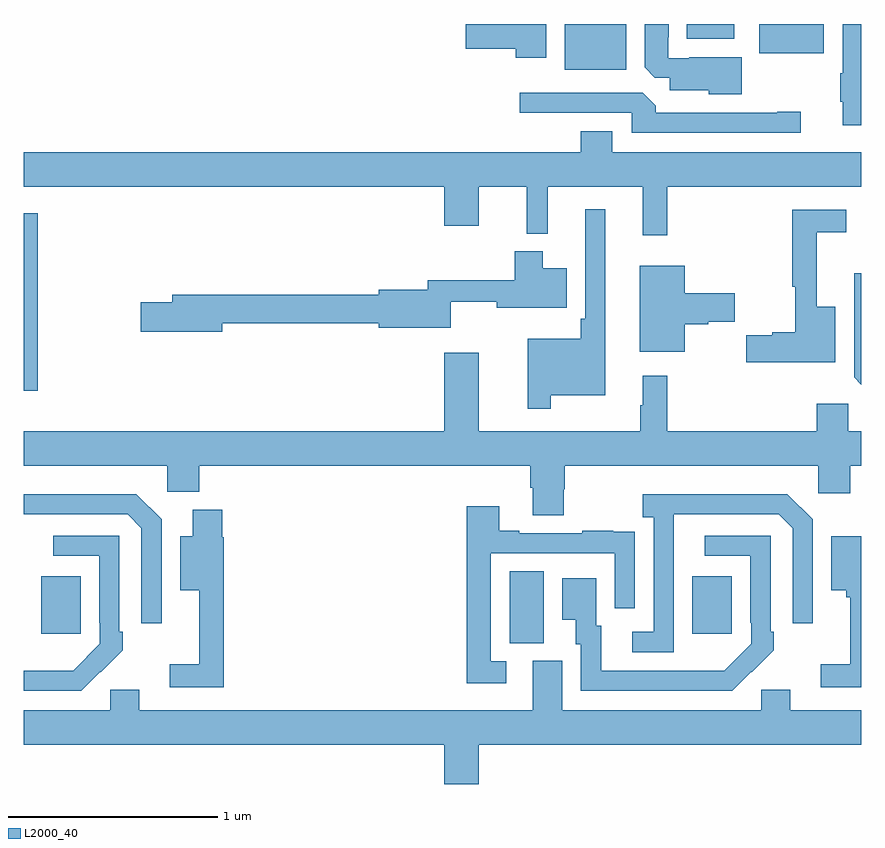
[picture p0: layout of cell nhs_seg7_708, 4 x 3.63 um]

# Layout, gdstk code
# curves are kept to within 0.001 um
import gdstk
lib = gdstk.Library(unit=1e-6, precision=1e-09)
def R(c, l, rs):  # rectangles x0, y0, x1, y1
    for r in rs: c.add(gdstk.rectangle(r[:2], r[2:], *l))
def P(c, l, *ps):  # polygons
    for p in ps: c.add(gdstk.Polygon(p, *l))
L2000_40 = (2000, 40)

nhs_seg7_708 = lib.new_cell('nhs_seg7_708')
R(nhs_seg7_708, L2000_40, [(165.32,1057.045,165.484,1057.388), (163.085,1057.089,163.273,1057.363), (166.193,1057.089,166.381,1057.363), (163,1058.25,163.067,1059.097), (165.584,1059.782,165.877,1060), (166.512,1059.86,166.819,1060), (166.166,1059.929,166.393,1060)])
P(nhs_seg7_708, L2000_40, [(165.496,1060),(165.111,1060),(165.111,1059.881),(165.35,1059.881),(165.35,1059.84),(165.496,1059.84)],
  [(167,1060),(166.911,1060),(166.911,1059.764),(166.899,1059.764),(166.899,1059.628),(166.91,1059.628),(166.91,1059.516),(167,1059.516)],
  [(166.429,1059.841),(166.177,1059.841),(166.177,1059.837),(166.077,1059.837),(166.077,1059.937),(166.081,1059.937),(166.081,1060),(165.965,1060),(165.965,1059.793),(166.014,1059.744),(166.085,1059.744),(166.085,1059.683),(166.272,1059.683),(166.272,1059.665),(166.429,1059.665)],
  [(166.711,1059.581),(166.598,1059.581),(166.598,1059.576),(166.019,1059.576),(166.019,1059.61),(165.957,1059.672),(165.369,1059.672),(165.369,1059.576),(165.903,1059.576),(165.903,1059.48),(166.711,1059.48)],
  [(166.073,1059.224),(167,1059.224),(167,1059.388),(165.811,1059.388),(165.811,1059.487),(165.659,1059.487),(165.659,1059.388),(163,1059.388),(163,1059.224),(165.008,1059.224),(165.008,1059.036),(165.172,1059.036),(165.172,1059.224),(165.403,1059.224),(165.403,1058.999),(165.503,1058.999),(165.503,1059.224),(165.956,1059.224),(165.956,1058.991),(166.073,1058.991)],
  [(165.517,1058.228),(165.778,1058.228),(165.778,1059.115),(165.681,1059.115),(165.681,1058.593),(165.661,1058.593),(165.661,1058.497),(165.408,1058.497),(165.408,1058.163),(165.517,1058.163)],
  [(166.876,1058.65),(166.787,1058.65),(166.787,1059.006),(166.927,1059.006),(166.927,1059.114),(166.669,1059.114),(166.669,1058.746),(166.684,1058.746),(166.684,1058.528),(166.575,1058.528),(166.575,1058.515),(166.45,1058.515),(166.45,1058.386),(166.876,1058.386)],
  [(163.948,1058.572),(164.696,1058.572),(164.696,1058.549),(165.04,1058.549),(165.04,1058.674),(165.26,1058.674),(165.26,1058.645),(165.592,1058.645),(165.592,1058.833),(165.478,1058.833),(165.478,1058.914),(165.344,1058.914),(165.344,1058.777),(164.93,1058.777),(164.93,1058.732),(164.696,1058.732),(164.696,1058.708),(163.709,1058.708),(163.709,1058.672),(163.56,1058.672),(163.56,1058.53),(163.948,1058.53)],
  [(166.156,1058.567),(166.269,1058.567),(166.269,1058.579),(166.394,1058.579),(166.394,1058.714),(166.156,1058.714),(166.156,1058.845),(165.941,1058.845),(165.941,1058.435),(166.156,1058.435)],
  [(167,1058.809),(166.965,1058.809),(166.965,1058.313),(167,1058.278)],
  [(165.579,1057.779),(165.584,1057.779),(165.584,1057.892),(166.794,1057.892),(166.794,1057.761),(166.946,1057.761),(166.946,1057.892),(167,1057.892),(167,1058.056),(166.938,1058.056),(166.938,1058.188),(166.787,1058.188),(166.787,1058.056),(166.073,1058.056),(166.073,1058.32),(165.956,1058.32),(165.956,1058.18),(165.945,1058.18),(165.945,1058.056),(165.172,1058.056),(165.172,1058.431),(165.008,1058.431),(165.008,1058.056),(163,1058.056),(163,1057.892),(163.686,1057.892),(163.686,1057.766),(163.838,1057.766),(163.838,1057.892),(165.419,1057.892),(165.419,1057.786),(165.431,1057.786),(165.431,1057.654),(165.579,1057.654)],
  [(166.104,1057.459),(166.105,1057.659),(166.605,1057.659),(166.671,1057.593),(166.671,1057.14),(166.767,1057.14),(166.767,1057.635),(166.646,1057.756),(165.957,1057.756),(165.957,1057.646),(166.008,1057.646),(166.008,1057.098),(165.906,1057.098),(165.906,1057.002),(166.104,1057.002)],
  [(163.659,1057.635),(163.538,1057.756),(163,1057.756),(163,1057.659),(163.497,1057.659),(163.563,1057.593),(163.563,1057.14),(163.659,1057.14)],
  [(165.304,1056.957),(165.231,1056.957),(165.231,1057.473),(165.822,1057.473),(165.822,1057.212),(165.918,1057.212),(165.918,1057.466),(165.917,1057.466),(165.917,1057.575),(165.815,1057.575),(165.815,1057.582),(165.667,1057.582),(165.667,1057.569),(165.367,1057.569),(165.367,1057.582),(165.271,1057.582),(165.271,1057.699),(165.115,1057.699),(165.115,1056.852),(165.304,1056.852)],
  [(163.955,1057.551),(163.949,1057.551),(163.949,1057.681),(163.808,1057.681),(163.808,1057.555),(163.748,1057.555),(163.748,1057.298),(163.838,1057.298),(163.838,1056.943),(163.698,1056.943),(163.698,1056.834),(163.955,1056.834)],
  [(166.475,1056.907),(166.476,1056.906),(166.581,1057.011),(166.581,1057.099),(166.566,1057.099),(166.566,1057.557),(166.251,1057.557),(166.251,1057.461),(166.47,1057.461),(166.47,1057.141),(166.473,1057.141),(166.473,1057.041),(166.345,1056.913),(165.757,1056.912),(165.757,1057.128),(165.733,1057.128),(165.733,1057.354),(165.572,1057.354),(165.572,1057.157),(165.635,1057.157),(165.635,1057.038),(165.66,1057.038),(165.66,1056.816),(166.384,1056.816)],
  [(163.367,1056.907),(163.368,1056.906),(163.473,1057.011),(163.473,1057.099),(163.458,1057.099),(163.458,1057.557),(163.143,1057.557),(163.143,1057.461),(163.362,1057.461),(163.362,1057.141),(163.365,1057.141),(163.365,1057.041),(163.237,1056.913),(163,1056.912),(163,1056.816),(163.276,1056.816)],
  [(167,1057.555),(166.856,1057.555),(166.856,1057.298),(166.928,1057.298),(166.928,1057.263),(166.946,1057.263),(166.946,1056.943),(166.806,1056.943),(166.806,1056.834),(167,1056.834)],
  [(165.172,1056.56),(167,1056.56),(167,1056.724),(166.66,1056.724),(166.66,1056.822),(166.521,1056.822),(166.521,1056.724),(165.571,1056.724),(165.571,1056.96),(165.431,1056.96),(165.431,1056.724),(163.552,1056.724),(163.552,1056.822),(163.413,1056.822),(163.413,1056.724),(163,1056.724),(163,1056.56),(165.008,1056.56),(165.008,1056.372),(165.172,1056.372)])

lib.write_gds('nhs_seg7_708.gds')
